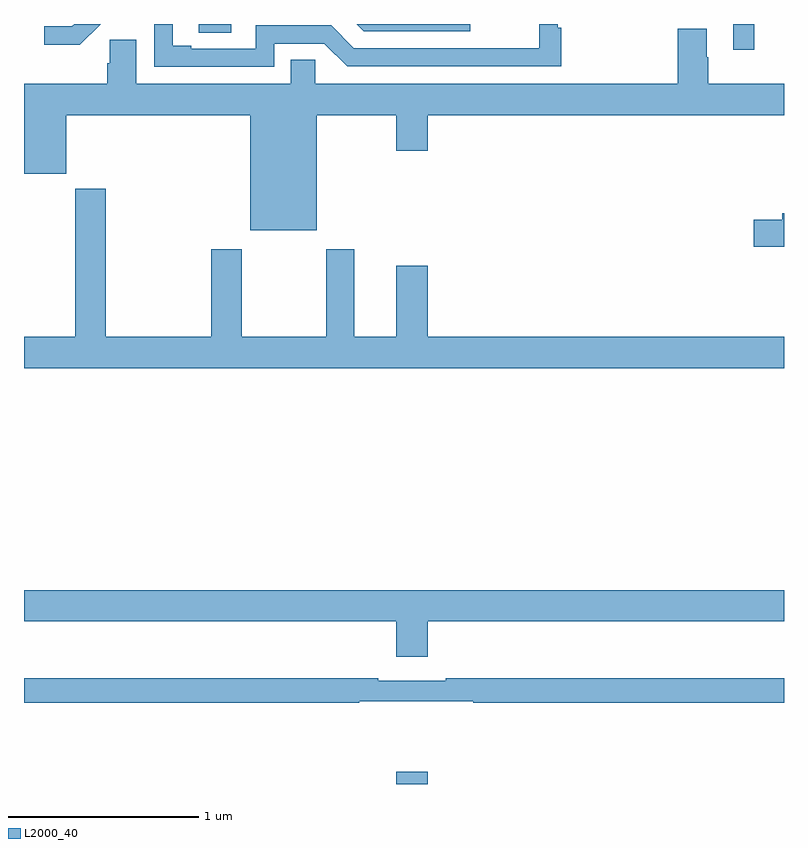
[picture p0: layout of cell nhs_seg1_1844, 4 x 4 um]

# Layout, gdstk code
import gdstk
lib = gdstk.Library(unit=1e-6, precision=1e-09)
def R(c, l, rs):  # rectangles x0, y0, x1, y1
    for r in rs: c.add(gdstk.rectangle(r[:2], r[2:], *l))
def P(c, l, *ps):  # polygons
    for p in ps: c.add(gdstk.Polygon(p, *l))
L2000_40 = (2000, 40)

nhs_seg1_1844 = lib.new_cell('nhs_seg1_1844')
R(nhs_seg1_1844, L2000_40, [(212.96,560.199,213.124,560.263), (214.733,564.063,214.843,564.199), (211.92,564.154,212.09,564.199), (213.471,564.198,213.626,564.199)])
P(nhs_seg1_1844, L2000_40, [(213.348,564.199),(212.75,564.199),(212.787,564.162),(213.348,564.162)],
  [(212.316,564.096),(212.58,564.096),(212.7,563.976),(213.827,563.976),(213.827,564.179),(213.81,564.179),(213.81,564.199),(213.711,564.199),(213.711,564.072),(212.736,564.072),(212.616,564.192),(212.22,564.192),(212.22,564.069),(211.879,564.069),(211.879,564.084),(211.783,564.084),(211.783,564.199),(211.686,564.199),(211.686,563.973),(212.316,563.973)],
  [(211.405,564.199),(211.264,564.199),(211.251,564.186),(211.107,564.186),(211.107,564.089),(211.294,564.089)],
  [(212.542,563.72),(212.96,563.72),(212.96,563.532),(213.124,563.532),(213.124,563.72),(215,563.72),(215,563.884),(214.602,563.884),(214.602,564.023),(214.594,564.023),(214.594,564.173),(214.442,564.173),(214.442,563.884),(212.532,563.884),(212.532,564.011),(212.405,564.011),(212.405,563.884),(211.591,563.884),(211.591,564.116),(211.452,564.116),(211.452,563.993),(211.439,563.993),(211.439,563.884),(211,563.884),(211,563.411),(211.222,563.411),(211.222,563.72),(212.192,563.72),(212.192,563.114),(212.542,563.114)],
  [(215,562.552),(213.124,562.552),(213.124,562.927),(212.96,562.927),(212.96,562.552),(212.737,562.552),(212.737,563.014),(212.59,563.014),(212.59,562.552),(212.145,562.552),(212.145,563.014),(211.985,563.014),(211.985,562.552),(211.43,562.552),(211.43,563.332),(211.27,563.332),(211.27,562.552),(211,562.552),(211,562.388),(215,562.388)],
  [(215,563.204),(214.991,563.204),(214.991,563.168),(214.842,563.168),(214.842,563.026),(215,563.026)],
  [(213.124,561.056),(215,561.056),(215,561.22),(211,561.22),(211,561.056),(212.96,561.056),(212.96,560.868),(213.124,560.868)],
  [(212.764,560.634),(213.364,560.634),(213.364,560.626),(215,560.626),(215,560.755),(213.22,560.755),(213.22,560.742),(212.864,560.742),(212.864,560.755),(211,560.755),(211,560.626),(212.764,560.626)])

lib.write_gds('nhs_seg1_1844.gds')
